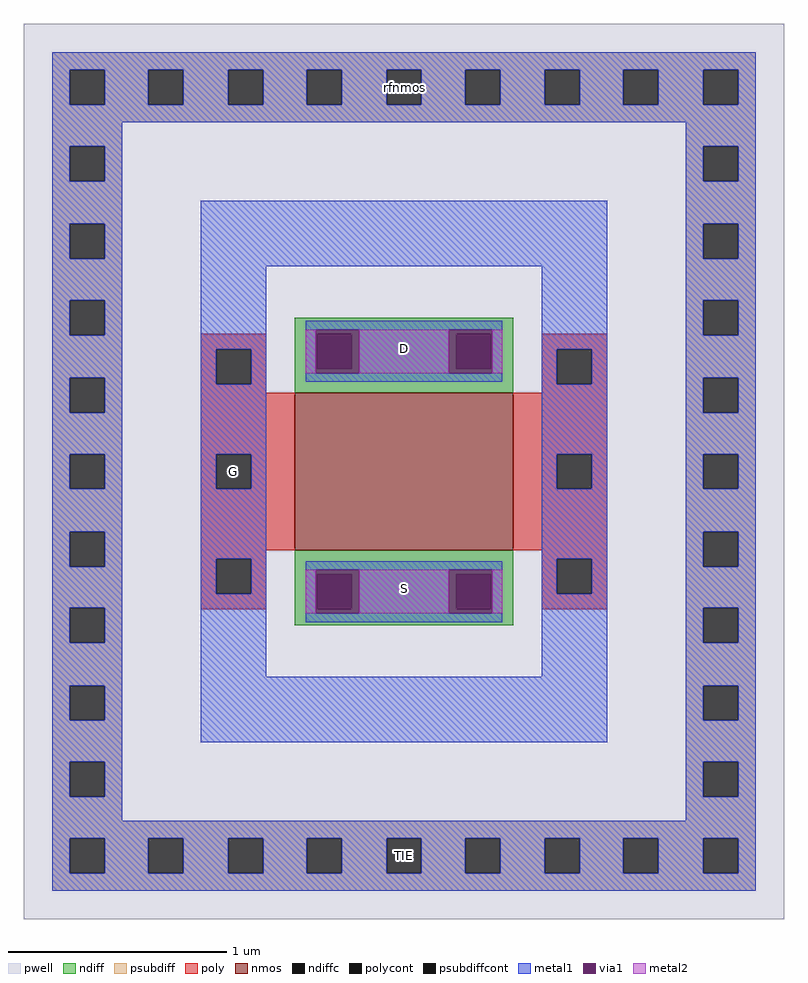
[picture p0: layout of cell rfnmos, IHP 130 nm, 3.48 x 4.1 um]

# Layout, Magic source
magic
tech ihp-sg13g2
magscale 1 2
<< pwell >>
rect -20 -20 676 800
<< nmos >>
rect 228 318 428 462
<< ndiff >>
rect 228 516 428 531
rect 228 484 248 516
rect 280 484 376 516
rect 408 484 428 516
rect 228 462 428 484
rect 228 296 428 318
rect 228 264 248 296
rect 280 264 376 296
rect 408 264 428 296
rect 228 249 428 264
<< ndiffc >>
rect 248 484 280 516
rect 376 484 408 516
rect 248 264 280 296
rect 376 264 408 296
<< psubdiff >>
rect 6 758 650 774
rect 6 726 22 758
rect 54 726 94 758
rect 126 726 167 758
rect 199 726 239 758
rect 271 726 312 758
rect 344 726 384 758
rect 416 726 457 758
rect 489 726 529 758
rect 561 726 602 758
rect 634 726 650 758
rect 6 710 650 726
rect 6 688 70 710
rect 6 656 22 688
rect 54 656 70 688
rect 6 617 70 656
rect 6 585 22 617
rect 54 585 70 617
rect 6 547 70 585
rect 6 515 22 547
rect 54 515 70 547
rect 586 688 650 710
rect 586 656 602 688
rect 634 656 650 688
rect 586 617 650 656
rect 586 585 602 617
rect 634 585 650 617
rect 586 547 650 585
rect 6 476 70 515
rect 6 444 22 476
rect 54 444 70 476
rect 6 406 70 444
rect 6 374 22 406
rect 54 374 70 406
rect 6 335 70 374
rect 6 303 22 335
rect 54 303 70 335
rect 6 265 70 303
rect 6 233 22 265
rect 54 233 70 265
rect 586 515 602 547
rect 634 515 650 547
rect 586 476 650 515
rect 586 444 602 476
rect 634 444 650 476
rect 586 406 650 444
rect 586 374 602 406
rect 634 374 650 406
rect 586 335 650 374
rect 586 303 602 335
rect 634 303 650 335
rect 586 265 650 303
rect 6 194 70 233
rect 6 162 22 194
rect 54 162 70 194
rect 6 124 70 162
rect 6 92 22 124
rect 54 92 70 124
rect 6 70 70 92
rect 586 233 602 265
rect 634 233 650 265
rect 586 194 650 233
rect 586 162 602 194
rect 634 162 650 194
rect 586 124 650 162
rect 586 92 602 124
rect 634 92 650 124
rect 586 70 650 92
rect 6 54 650 70
rect 6 22 22 54
rect 54 22 94 54
rect 126 22 167 54
rect 199 22 239 54
rect 271 22 312 54
rect 344 22 384 54
rect 416 22 457 54
rect 489 22 529 54
rect 561 22 602 54
rect 634 22 650 54
rect 6 6 650 22
<< psubdiffcont >>
rect 22 726 54 758
rect 94 726 126 758
rect 167 726 199 758
rect 239 726 271 758
rect 312 726 344 758
rect 384 726 416 758
rect 457 726 489 758
rect 529 726 561 758
rect 602 726 634 758
rect 22 656 54 688
rect 22 585 54 617
rect 22 515 54 547
rect 602 656 634 688
rect 602 585 634 617
rect 22 444 54 476
rect 22 374 54 406
rect 22 303 54 335
rect 22 233 54 265
rect 602 515 634 547
rect 602 444 634 476
rect 602 374 634 406
rect 602 303 634 335
rect 22 162 54 194
rect 22 92 54 124
rect 602 233 634 265
rect 602 162 634 194
rect 602 92 634 124
rect 22 22 54 54
rect 94 22 126 54
rect 167 22 199 54
rect 239 22 271 54
rect 312 22 344 54
rect 384 22 416 54
rect 457 22 489 54
rect 529 22 561 54
rect 602 22 634 54
<< poly >>
rect 142 502 202 516
rect 142 470 156 502
rect 188 470 202 502
rect 142 462 202 470
rect 454 502 514 516
rect 454 470 468 502
rect 500 470 514 502
rect 454 462 514 470
rect 142 406 228 462
rect 142 374 156 406
rect 188 374 228 406
rect 142 318 228 374
rect 428 406 514 462
rect 428 374 468 406
rect 500 374 514 406
rect 428 318 514 374
rect 142 310 202 318
rect 142 278 156 310
rect 188 278 202 310
rect 142 264 202 278
rect 454 310 514 318
rect 454 278 468 310
rect 500 278 514 310
rect 454 264 514 278
<< polycont >>
rect 156 470 188 502
rect 468 470 500 502
rect 156 374 188 406
rect 468 374 500 406
rect 156 278 188 310
rect 468 278 500 310
<< metal1 >>
rect 6 758 650 774
rect 6 726 22 758
rect 54 726 94 758
rect 126 726 167 758
rect 199 726 239 758
rect 271 726 312 758
rect 344 726 384 758
rect 416 726 457 758
rect 489 726 529 758
rect 561 726 602 758
rect 634 726 650 758
rect 6 710 650 726
rect 6 688 70 710
rect 6 656 22 688
rect 54 656 70 688
rect 6 617 70 656
rect 586 688 650 710
rect 586 656 602 688
rect 634 656 650 688
rect 6 585 22 617
rect 54 585 70 617
rect 6 547 70 585
rect 6 515 22 547
rect 54 515 70 547
rect 6 476 70 515
rect 6 444 22 476
rect 54 444 70 476
rect 6 406 70 444
rect 6 374 22 406
rect 54 374 70 406
rect 6 335 70 374
rect 6 303 22 335
rect 54 303 70 335
rect 6 265 70 303
rect 6 233 22 265
rect 54 233 70 265
rect 6 194 70 233
rect 6 162 22 194
rect 54 162 70 194
rect 6 124 70 162
rect 142 578 514 638
rect 142 502 202 578
rect 142 470 156 502
rect 188 470 202 502
rect 238 520 418 528
rect 238 480 247 520
rect 287 480 369 520
rect 409 480 418 520
rect 238 472 418 480
rect 454 502 514 578
rect 142 406 202 470
rect 142 374 156 406
rect 188 374 202 406
rect 142 310 202 374
rect 142 278 156 310
rect 188 278 202 310
rect 454 470 468 502
rect 500 470 514 502
rect 454 406 514 470
rect 454 374 468 406
rect 500 374 514 406
rect 454 310 514 374
rect 142 202 202 278
rect 238 300 418 308
rect 238 260 247 300
rect 287 260 369 300
rect 409 260 418 300
rect 238 252 418 260
rect 454 278 468 310
rect 500 278 514 310
rect 454 202 514 278
rect 142 142 514 202
rect 586 617 650 656
rect 586 585 602 617
rect 634 585 650 617
rect 586 547 650 585
rect 586 515 602 547
rect 634 515 650 547
rect 586 476 650 515
rect 586 444 602 476
rect 634 444 650 476
rect 586 406 650 444
rect 586 374 602 406
rect 634 374 650 406
rect 586 335 650 374
rect 586 303 602 335
rect 634 303 650 335
rect 586 265 650 303
rect 586 233 602 265
rect 634 233 650 265
rect 586 194 650 233
rect 586 162 602 194
rect 634 162 650 194
rect 6 92 22 124
rect 54 92 70 124
rect 6 70 70 92
rect 586 124 650 162
rect 586 92 602 124
rect 634 92 650 124
rect 586 70 650 92
rect 6 54 650 70
rect 6 22 22 54
rect 54 22 94 54
rect 126 22 167 54
rect 199 22 239 54
rect 271 22 312 54
rect 344 22 384 54
rect 416 22 457 54
rect 489 22 529 54
rect 561 22 602 54
rect 634 22 650 54
rect 6 6 650 22
<< via1 >>
rect 247 516 287 520
rect 247 484 248 516
rect 248 484 280 516
rect 280 484 287 516
rect 247 480 287 484
rect 369 516 409 520
rect 369 484 376 516
rect 376 484 408 516
rect 408 484 409 516
rect 369 480 409 484
rect 247 296 287 300
rect 247 264 248 296
rect 248 264 280 296
rect 280 264 287 296
rect 247 260 287 264
rect 369 296 409 300
rect 369 264 376 296
rect 376 264 408 296
rect 408 264 409 296
rect 369 260 409 264
<< metal2 >>
rect 238 480 247 520
rect 287 480 369 520
rect 409 480 418 520
rect 238 260 247 300
rect 287 260 369 300
rect 409 260 418 300
<< labels >>
flabel comment s 328 38 328 38 0 FreeSans 320 0 0 0 TIE
flabel comment s 328 742 328 742 0 FreeSans 480 0 0 0 rfnmos
flabel comment s 172 390 172 390 0 FreeSans 600 0 0 0 G
flabel comment s 328 503 328 503 0 FreeSans 600 0 0 0 D
flabel comment s 328 283 328 283 0 FreeSans 600 0 0 0 S
<< end >>
